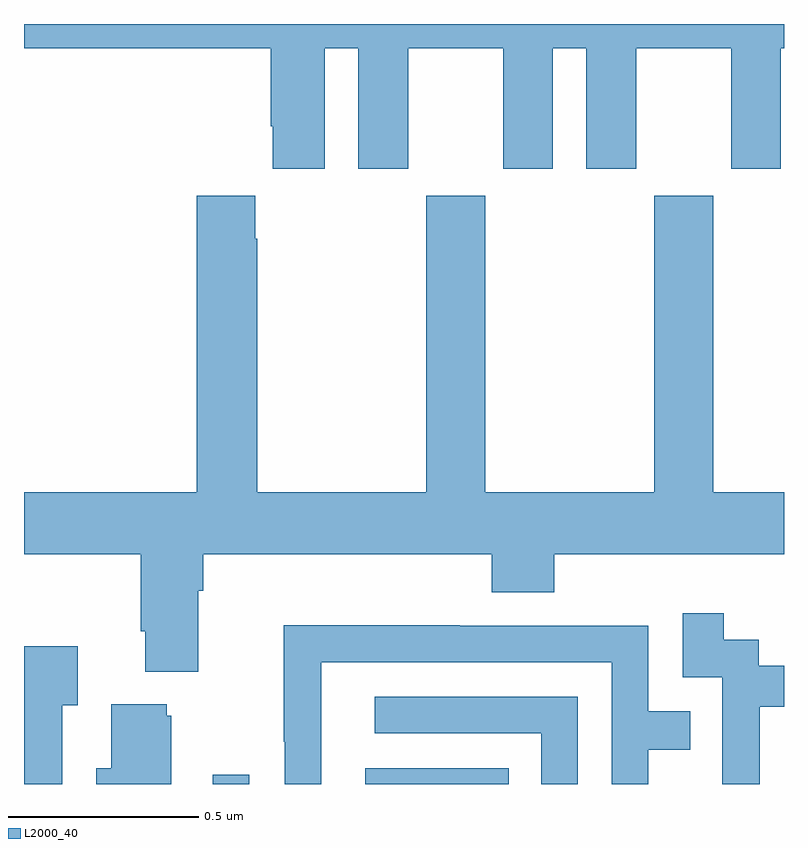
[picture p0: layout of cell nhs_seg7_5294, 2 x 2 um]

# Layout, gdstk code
import gdstk
lib = gdstk.Library(unit=1e-6, precision=1e-09)
def R(c, l, rs):  # rectangles x0, y0, x1, y1
    for r in rs: c.add(gdstk.rectangle(r[:2], r[2:], *l))
def P(c, l, *ps):  # polygons
    for p in ps: c.add(gdstk.Polygon(p, *l))
L2000_40 = (2000, 40)

nhs_seg7_5294 = lib.new_cell('nhs_seg7_5294')
R(nhs_seg7_5294, L2000_40, [(184.497,1012,184.593,1012.024), (184.898,1012,185.276,1012.042)])
P(nhs_seg7_5294, L2000_40, [(184.792,1013.936),(184.88,1013.936),(184.88,1013.619),(185.011,1013.619),(185.011,1013.936),(185.261,1013.936),(185.261,1013.619),(185.392,1013.619),(185.392,1013.936),(185.48,1013.936),(185.48,1013.619),(185.611,1013.619),(185.611,1013.936),(185.861,1013.936),(185.861,1013.619),(185.992,1013.619),(185.992,1013.936),(186,1013.936),(186,1014),(184,1014),(184,1013.936),(184.649,1013.936),(184.649,1013.731),(184.655,1013.731),(184.655,1013.619),(184.792,1013.619)],
  [(185.214,1013.548),(185.059,1013.548),(185.059,1012.768),(184.614,1012.768),(184.614,1013.435),(184.609,1013.435),(184.609,1013.548),(184.454,1013.548),(184.454,1012.768),(184,1012.768),(184,1012.604),(184.307,1012.604),(184.307,1012.402),(184.319,1012.402),(184.319,1012.295),(184.459,1012.295),(184.459,1012.508),(184.472,1012.508),(184.472,1012.604),(185.231,1012.604),(185.231,1012.505),(185.396,1012.505),(185.396,1012.604),(186,1012.604),(186,1012.768),(185.814,1012.768),(185.814,1013.548),(185.659,1013.548),(185.659,1012.768),(185.214,1012.768)],
  [(185.936,1012.203),(186,1012.203),(186,1012.311),(185.934,1012.311),(185.934,1012.38),(185.842,1012.38),(185.842,1012.45),(185.733,1012.45),(185.733,1012.281),(185.838,1012.281),(185.838,1012.052),(185.837,1012.052),(185.837,1012),(185.936,1012)],
  [(184.782,1012.32),(185.547,1012.32),(185.547,1012),(185.643,1012),(185.643,1012.09),(185.753,1012.09),(185.753,1012.191),(185.643,1012.191),(185.643,1012.416),(185.147,1012.416),(185.147,1012.418),(184.684,1012.418),(184.684,1012.111),(184.686,1012.111),(184.686,1012),(184.782,1012)],
  [(184.101,1012.207),(184.141,1012.207),(184.141,1012.363),(184,1012.363),(184,1012),(184.101,1012)],
  [(185.457,1012.23),(184.923,1012.23),(184.923,1012.134),(185.361,1012.134),(185.361,1012),(185.457,1012)],
  [(184.387,1012.179),(184.376,1012.179),(184.376,1012.21),(184.229,1012.21),(184.229,1012.042),(184.19,1012.042),(184.19,1012),(184.387,1012)])

lib.write_gds('nhs_seg7_5294.gds')
